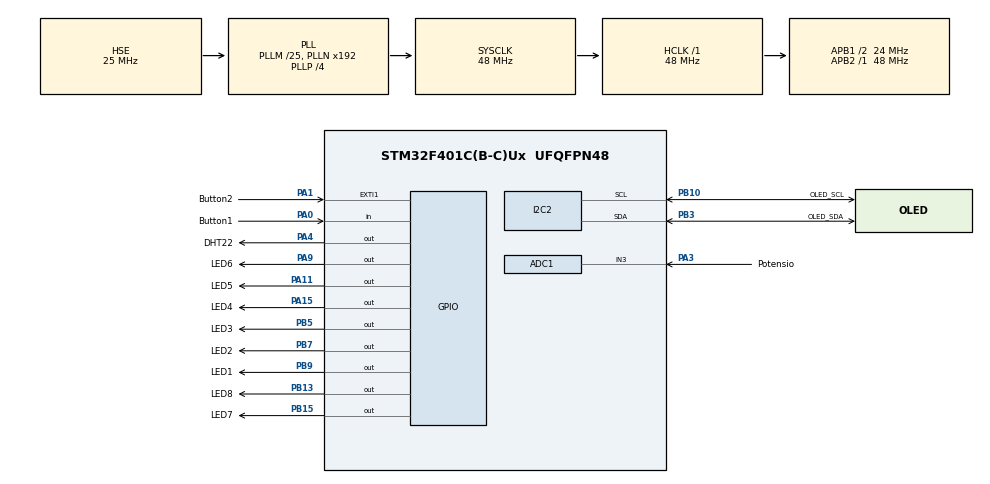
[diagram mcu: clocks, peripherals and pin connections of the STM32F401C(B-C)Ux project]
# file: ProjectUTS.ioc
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ADC1.Channel-0\#ChannelRegularConversion=ADC_CHANNEL_3
ADC1.NbrOfConversionFlag=1
ADC1.Rank-0\#ChannelRegularConversion=1
ADC1.SamplingTime-0\#ChannelRegularConversion=ADC_SAMPLETIME_3CYCLES
ADC1.master=1
I2C2.I2C_Mode=I2C_Standard
Mcu.Family=STM32F4
Mcu.Name=STM32F401C(B-C)Ux
Mcu.Package=UFQFPN48
NVIC.EXTI1_IRQn=true\:0\:0\:false\:false\:true\:true\:true\:true
NVIC.PriorityGroup=NVIC_PRIORITYGROUP_4
PA0-WKUP.GPIO_Label=Button1
PA0-WKUP.GPIO_PuPd=GPIO_PULLUP
PA0-WKUP.Signal=GPIO_Input
PA1.GPIO_Label=Button2
PA1.GPIO_ModeDefaultEXTI=GPIO_MODE_IT_RISING_FALLING
PA1.GPIO_PuPd=GPIO_PULLUP
PA1.Signal=GPXTI1
PA11.GPIO_Label=LED5
PA11.Signal=GPIO_Output
PA15.GPIO_Label=LED4
PA15.Signal=GPIO_Output
PA3.GPIO_Label=Potensio
PA3.Signal=ADCx_IN3
PA4.GPIO_Label=DHT22
PA4.Signal=GPIO_Output
PA9.GPIO_Label=LED6
PA9.Signal=GPIO_Output
PB10.GPIO_Label=OLED_SCL
PB10.GPIO_Pu=GPIO_PULLUP
PB10.Mode=I2C
PB10.Signal=I2C2_SCL
PB13.GPIO_Label=LED8
PB13.Signal=GPIO_Output
PB15.GPIO_Label=LED7
PB15.Signal=GPIO_Output
PB3.GPIO_Label=OLED_SDA
PB3.GPIO_Pu=GPIO_PULLUP
PB3.Mode=I2C
PB3.Signal=I2C2_SDA
PB5.GPIO_Label=LED3
PB5.Signal=GPIO_Output
PB7.GPIO_Label=LED2
PB7.Signal=GPIO_Output
PB9.GPIO_Label=LED1
PB9.Signal=GPIO_Output
PH0\ -\ OSC_IN.Mode=HSE-External-Oscillator
PH0\ -\ OSC_IN.Signal=RCC_OSC_IN
PH1\ -\ OSC_OUT.Mode=HSE-External-Oscillator
PH1\ -\ OSC_OUT.Signal=RCC_OSC_OUT
ProjectManager.HeapSize=0x200
ProjectManager.StackSize=0x400
ProjectManager.TargetToolchain=STM32CubeIDE
RCC.48MHZClocksFreq_Value=48000000
RCC.AHBFreq_Value=48000000
RCC.APB1CLKDivider=RCC_HCLK_DIV2
RCC.APB1Freq_Value=24000000
RCC.APB1TimFreq_Value=48000000
RCC.APB2Freq_Value=48000000
RCC.APB2TimFreq_Value=48000000
RCC.CortexFreq_Value=48000000
RCC.HCLKFreq_Value=48000000
RCC.HSE_VALUE=25000000
RCC.HSI_VALUE=16000000
RCC.LSE_VALUE=32768
RCC.PLLM=25
RCC.PLLP=RCC_PLLP_DIV4
RCC.PLLSourceVirtual=RCC_PLLSOURCE_HSE
RCC.SYSCLKFreq_VALUE=48000000
RCC.SYSCLKSource=RCC_SYSCLKSOURCE_PLLCLK
RCC.VCOOutputFreq_Value=192000000
SH.ADCx_IN3.0=ADC1_IN3,IN3
TIM3.Prescaler=47
VP_TIM3_VS_ClockSourceINT.Mode=Internal
board=custom

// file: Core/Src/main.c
/* USER CODE BEGIN Header */
/**
 ******************************************************************************
 * @file           : main.c
 * @brief          : Main program body
 ******************************************************************************
 * @attention
 *
 * Copyright (c) 2026 STMicroelectronics.
 * All rights reserved.
 *
 * This software is licensed under terms that can be found in the LICENSE file
 * in the root directory of this software component.
 * If no LICENSE file comes with this software, it is provided AS-IS.
 *
 ******************************************************************************
 */
/* USER CODE END Header */
#include "main.h"

/* USER CODE BEGIN Includes */
#include "dht22.h"
#include "ssd1306.h"
#include "ssd1306_fonts.h"
#include <stdio.h>
#include <string.h>
/* USER CODE END Includes */

ADC_HandleTypeDef hadc1;

I2C_HandleTypeDef hi2c2;

TIM_HandleTypeDef htim3;

/* USER CODE BEGIN PV */
volatile uint8_t state = 0;
uint8_t nim_state = 0;
volatile uint32_t gauge_val = 0;
volatile uint16_t adc_val = 0;

volatile uint32_t last_shift_time = 0;
volatile uint8_t shift_idx = 0;
volatile uint8_t temperature = 0;
volatile uint8_t humidity = 0;

uint8_t virtual_btn = 0;

volatile uint8_t button_interrupted = 0;
volatile uint8_t virtual_interrupt = 0;
uint32_t interrupt_start_time = 0;

GPIO_TypeDef *LED_PORT[8] = { LED1_GPIO_Port, LED2_GPIO_Port, LED3_GPIO_Port,
LED4_GPIO_Port, LED5_GPIO_Port, LED6_GPIO_Port, LED7_GPIO_Port,
LED8_GPIO_Port };
uint16_t LED_PIN[8] = { LED1_Pin, LED2_Pin, LED3_Pin, LED4_Pin, LED5_Pin,
LED6_Pin, LED7_Pin, LED8_Pin };
/* USER CODE END PV */

void SystemClock_Config(void);
static void MX_GPIO_Init(void);
static void MX_ADC1_Init(void);
static void MX_TIM3_Init(void);
static void MX_I2C2_Init(void);

/* USER CODE BEGIN 0 */
void Set_LED_State(uint8_t mask) {
	for (int i = 0; i < 8; i++) {
		// Cek apakah bit ke-i bernilai 1
		if (mask & (1 << i)) {
			HAL_GPIO_WritePin(LED_PORT[i], LED_PIN[i], GPIO_PIN_SET); // Nyalakan LED
		} else {
			HAL_GPIO_WritePin(LED_PORT[i], LED_PIN[i], GPIO_PIN_RESET); // Matikan LED
		}
	}
}
/* USER CODE END 0 */

int main(void) {

	/* MCU Configuration--------------------------------------------------------*/

	/* Reset of all peripherals, Initializes the Flash interface and the Systick. */
	HAL_Init();

	/* Configure the system clock */
	SystemClock_Config();

	/* Initialize all configured peripherals */
	MX_GPIO_Init();
	MX_ADC1_Init();
	MX_TIM3_Init();
	MX_I2C2_Init();
	/* USER CODE BEGIN 2 */
	HAL_TIM_Base_Start(&htim3);
	HAL_Delay(3000);

	ssd1306_Init();
	/* USER CODE END 2 */

	/* Infinite loop */
	/* USER CODE BEGIN WHILE */
	char str_state[20];
	while (1) {
		uint8_t btn_fisik = (HAL_GPIO_ReadPin(Button1_GPIO_Port, Button1_Pin)
				== GPIO_PIN_RESET);
		if (btn_fisik == 1 || virtual_btn == 1) {
			HAL_Delay(50);
			btn_fisik = (HAL_GPIO_ReadPin(Button1_GPIO_Port, Button1_Pin)
					== GPIO_PIN_RESET);
			if (btn_fisik == 1 || virtual_btn == 1) {
				state++;
				if (state > 3)
					state = 0;

				Set_LED_State(0x00);
				shift_idx = 0;
				last_shift_time = 0;
				virtual_btn = 0;

				if (btn_fisik == 1) {
					while (HAL_GPIO_ReadPin(Button1_GPIO_Port, Button1_Pin)
							== GPIO_PIN_RESET)
						;
				}
			}
		}
		if (button_interrupted == 1 || virtual_interrupt == 1) {
			if (virtual_interrupt == 1) {
				button_interrupted = 1;
				virtual_interrupt = 0;
				interrupt_start_time = HAL_GetTick();
			}

			Set_LED_State(0xFF);

			if (HAL_GetTick() - interrupt_start_time >= 5000) {
				button_interrupted = 0;
				Set_LED_State(0x00);
			}
		}

		switch (state) {
		case 0:
			ssd1306_Fill(Black);
			if (HAL_GetTick() - last_shift_time >= 200) {
				last_shift_time = HAL_GetTick();
				Set_LED_State(1 << shift_idx);
				shift_idx++;
				if (shift_idx >= 8)
					shift_idx = 0;
			}
			sprintf(str_state, "State : %d", state);
			ssd1306_SetCursor(15, 25);
			ssd1306_WriteString(str_state, Font_11x18, White);
			ssd1306_UpdateScreen();
			break;

		case 1:
			ssd1306_Fill(Black);
			char str_gauge[20];
			gauge_val++;
			if (nim_state == 0) {
				if (gauge_val <= 3) {
					Set_LED_State(0x01);
					HAL_Delay(250);
				} else if (gauge_val <= 7) {
					Set_LED_State(0x03);
					HAL_Delay(250);
				} else if (gauge_val <= 10) {
					Set_LED_State(0x07);
					HAL_Delay(250);
				} else if (gauge_val <= 14) {
					Set_LED_State(0x0F);
					HAL_Delay(250);
				} else if (gauge_val <= 17) {
					Set_LED_State(0x1F);
					HAL_Delay(250);
				} else if (gauge_val <= 21) {
					Set_LED_State(0x3F);
					HAL_Delay(250);
				} else if (gauge_val <= 24) {
					Set_LED_State(0x7F);
					HAL_Delay(250);
				} else if (gauge_val <= 27) {
					Set_LED_State(0xFF);
					HAL_Delay(250);
				} else {
					Set_LED_State(0xFF);
					HAL_Delay(200);
					Set_LED_State(0x00);
					HAL_Delay(200);
					Set_LED_State(0xFF);
					HAL_Delay(200);
					Set_LED_State(0x00);
					HAL_Delay(200);
					Set_LED_State(0xFF);
					gauge_val = 0;
					nim_state = 1;
				}
				sprintf(str_gauge, "Value: %lu", gauge_val);
				ssd1306_SetCursor(15, 5);
				ssd1306_WriteString(str_gauge, Font_11x18, White);

				sprintf(str_state, "State: %d", state);
				ssd1306_SetCursor(15, 35);
				ssd1306_WriteString(str_state, Font_11x18, White);
				ssd1306_UpdateScreen();
			} else {
				if (gauge_val <= 9) {
					Set_LED_State(0x01);
					HAL_Delay(250);
				} else if (gauge_val <= 18) {
					Set_LED_State(0x03);
					HAL_Delay(250);
				} else if (gauge_val <= 28) {
					Set_LED_State(0x07);
					HAL_Delay(250);
				} else if (gauge_val <= 37) {
					Set_LED_State(0x0F);
					HAL_Delay(250);
				} else if (gauge_val <= 47) {
					Set_LED_State(0x1F);
					HAL_Delay(250);
				} else if (gauge_val <= 56) {
					Set_LED_State(0x3F);
					HAL_Delay(250);
				} else if (gauge_val <= 66) {
					Set_LED_State(0x7F);
					HAL_Delay(250);
				} else if (gauge_val <= 76) {
					Set_LED_State(0xFF);
					HAL_Delay(250);
				} else {
					Set_LED_State(0xFF);
					HAL_Delay(200);
					Set_LED_State(0x00);
					HAL_Delay(200);
					Set_LED_State(0xFF);
					HAL_Delay(200);
					Set_LED_State(0x00);
					HAL_Delay(200);
					Set_LED_State(0xFF);
					gauge_val = 0;
					nim_state = 0;
				}
				sprintf(str_gauge, "Value: %lu", gauge_val);
				ssd1306_SetCursor(15, 5);
				ssd1306_WriteString(str_gauge, Font_11x18, White);

				sprintf(str_state, "State: %d", state);
				ssd1306_SetCursor(15, 35);
				ssd1306_WriteString(str_state, Font_11x18, White);
				ssd1306_UpdateScreen();
			}
			break;

		case 2:
			ssd1306_Fill(Black);
			char str_adc[20];
			HAL_ADC_Start(&hadc1);
			if (HAL_ADC_PollForConversion(&hadc1, 10) == HAL_OK) {
				adc_val = HAL_ADC_GetValue(&hadc1);
				int leds_to_turn_on = (adc_val * 8) / 4095;
				Set_LED_State((1 << leds_to_turn_on) - 1);
			}
			HAL_ADC_Stop(&hadc1);
			sprintf(str_adc, "Value: %u", adc_val);
			ssd1306_SetCursor(5, 5);
			ssd1306_WriteString(str_adc, Font_11x18, White);

			sprintf(str_state, "State: %d", state);
			ssd1306_SetCursor(15, 35);
			ssd1306_WriteString(str_state, Font_11x18, White);
			ssd1306_UpdateScreen();
			break;

		case 3: { // ← kurung kurawal wajib untuk deklarasi variabel di dalam case
			DHT22_Data sensor = DHT22_Read();
			temperature = sensor.temperature;
			humidity = sensor.humidity;

			char str_temp[20];
			char str_hum[20];

			ssd1306_Fill(Black);

			if (sensor.status == 0) {
				uint8_t temp_mask = 0x00;
				if (sensor.temperature > 30.0f)
					temp_mask = 0x0F;
				else if (sensor.temperature > 28.0f)
					temp_mask = 0x07;
				else if (sensor.temperature > 24.0f)
					temp_mask = 0x03;
				else if (sensor.temperature > 22.0f)
					temp_mask = 0x01;

				uint8_t hum_mask = 0x00;
				if (sensor.humidity > 90.0f)
					hum_mask = 0xF0;
				else if (sensor.humidity > 76.0f)
					hum_mask = 0xE0;
				else if (sensor.humidity > 74.0f)
					hum_mask = 0xC0;
				else if (sensor.humidity > 70.0f)
					hum_mask = 0x80;

				Set_LED_State(temp_mask | hum_mask);

				// Jika pembacaan BERHASIL
				// Format: "Temp: 25.4 C" (%.1f artinya 1 angka di belakang koma)
				sprintf(str_temp, "Temp: %.1f C", sensor.temperature);
				sprintf(str_hum, "Humid: %.1f %%", sensor.humidity);
				sprintf(str_state, "State: %d", state);

				// Tampilkan Suhu (Baris 1)
				ssd1306_SetCursor(15, 10);
				ssd1306_WriteString(str_temp, Font_7x10, White);

				// Tampilkan Kelembapan (Baris 2)
				ssd1306_SetCursor(15, 25);
				ssd1306_WriteString(str_hum, Font_7x10, White);

				ssd1306_SetCursor(20, 40);
				ssd1306_WriteString(str_state, Font_7x10, White);
			} else {
				// Jika pembacaan GAGAL
				ssd1306_SetCursor(0, 20);
				ssd1306_WriteString("SENSOR ERROR", Font_11x18, White);
			}

			ssd1306_UpdateScreen();

			HAL_Delay(200);
			break;
		}
		}
		/* USER CODE END WHILE */

	}
}

void SystemClock_Config(void) {
	RCC_OscInitTypeDef RCC_OscInitStruct = { 0 };
	RCC_ClkInitTypeDef RCC_ClkInitStruct = { 0 };

	/** Configure the main internal regulator output voltage
	 */
	__HAL_RCC_PWR_CLK_ENABLE();
	__HAL_PWR_VOLTAGESCALING_CONFIG(PWR_REGULATOR_VOLTAGE_SCALE2);

	/** Initializes the RCC Oscillators according to the specified parameters
	 * in the RCC_OscInitTypeDef structure.
	 */
	RCC_OscInitStruct.OscillatorType = RCC_OSCILLATORTYPE_HSE;
	RCC_OscInitStruct.HSEState = RCC_HSE_ON;
	RCC_OscInitStruct.PLL.PLLState = RCC_PLL_ON;
	RCC_OscInitStruct.PLL.PLLSource = RCC_PLLSOURCE_HSE;
	RCC_OscInitStruct.PLL.PLLM = 25;
	RCC_OscInitStruct.PLL.PLLN = 192;
	RCC_OscInitStruct.PLL.PLLP = RCC_PLLP_DIV4;
	RCC_OscInitStruct.PLL.PLLQ = 4;
	if (HAL_RCC_OscConfig(&RCC_OscInitStruct) != HAL_OK) {
		Error_Handler();
	}

	/** Initializes the CPU, AHB and APB buses clocks
	 */
	RCC_ClkInitStruct.ClockType = RCC_CLOCKTYPE_HCLK | RCC_CLOCKTYPE_SYSCLK
			| RCC_CLOCKTYPE_PCLK1 | RCC_CLOCKTYPE_PCLK2;
	RCC_ClkInitStruct.SYSCLKSource = RCC_SYSCLKSOURCE_PLLCLK;
	RCC_ClkInitStruct.AHBCLKDivider = RCC_SYSCLK_DIV1;
	RCC_ClkInitStruct.APB1CLKDivider = RCC_HCLK_DIV2;
	RCC_ClkInitStruct.APB2CLKDivider = RCC_HCLK_DIV1;

	if (HAL_RCC_ClockConfig(&RCC_ClkInitStruct, FLASH_LATENCY_1) != HAL_OK) {
		Error_Handler();
	}
}

static void MX_ADC1_Init(void) {

	ADC_ChannelConfTypeDef sConfig = { 0 };

	/** Configure the global features of the ADC (Clock, Resolution, Data Alignment and number of conversion)
	 */
	hadc1.Instance = ADC1;
	hadc1.Init.ClockPrescaler = ADC_CLOCK_SYNC_PCLK_DIV2;
	hadc1.Init.Resolution = ADC_RESOLUTION_12B;
	hadc1.Init.ScanConvMode = DISABLE;
	hadc1.Init.ContinuousConvMode = DISABLE;
	hadc1.Init.DiscontinuousConvMode = DISABLE;
	hadc1.Init.ExternalTrigConvEdge = ADC_EXTERNALTRIGCONVEDGE_NONE;
	hadc1.Init.ExternalTrigConv = ADC_SOFTWARE_START;
	hadc1.Init.DataAlign = ADC_DATAALIGN_RIGHT;
	hadc1.Init.NbrOfConversion = 1;
	hadc1.Init.DMAContinuousRequests = DISABLE;
	hadc1.Init.EOCSelection = ADC_EOC_SINGLE_CONV;
	if (HAL_ADC_Init(&hadc1) != HAL_OK) {
		Error_Handler();
	}

	/** Configure for the selected ADC regular channel its corresponding rank in the sequencer and its sample time.
	 */
	sConfig.Channel = ADC_CHANNEL_3;
	sConfig.Rank = 1;
	sConfig.SamplingTime = ADC_SAMPLETIME_3CYCLES;
	if (HAL_ADC_ConfigChannel(&hadc1, &sConfig) != HAL_OK) {
		Error_Handler();
	}

}

static void MX_I2C2_Init(void) {

	hi2c2.Instance = I2C2;
	hi2c2.Init.ClockSpeed = 100000;
	hi2c2.Init.DutyCycle = I2C_DUTYCYCLE_2;
	hi2c2.Init.OwnAddress1 = 0;
	hi2c2.Init.AddressingMode = I2C_ADDRESSINGMODE_7BIT;
	hi2c2.Init.DualAddressMode = I2C_DUALADDRESS_DISABLE;
	hi2c2.Init.OwnAddress2 = 0;
	hi2c2.Init.GeneralCallMode = I2C_GENERALCALL_DISABLE;
	hi2c2.Init.NoStretchMode = I2C_NOSTRETCH_DISABLE;
	if (HAL_I2C_Init(&hi2c2) != HAL_OK) {
		Error_Handler();
	}

}

static void MX_TIM3_Init(void) {

	TIM_ClockConfigTypeDef sClockSourceConfig = { 0 };
	TIM_MasterConfigTypeDef sMasterConfig = { 0 };

	htim3.Instance = TIM3;
	htim3.Init.Prescaler = 47;
	htim3.Init.CounterMode = TIM_COUNTERMODE_UP;
	htim3.Init.Period = 65535;
	htim3.Init.ClockDivision = TIM_CLOCKDIVISION_DIV1;
	htim3.Init.AutoReloadPreload = TIM_AUTORELOAD_PRELOAD_DISABLE;
	if (HAL_TIM_Base_Init(&htim3) != HAL_OK) {
		Error_Handler();
	}
	sClockSourceConfig.ClockSource = TIM_CLOCKSOURCE_INTERNAL;
	if (HAL_TIM_ConfigClockSource(&htim3, &sClockSourceConfig) != HAL_OK) {
		Error_Handler();
	}
	sMasterConfig.MasterOutputTrigger = TIM_TRGO_RESET;
	sMasterConfig.MasterSlaveMode = TIM_MASTERSLAVEMODE_DISABLE;
	if (HAL_TIMEx_MasterConfigSynchronization(&htim3, &sMasterConfig)
			!= HAL_OK) {
		Error_Handler();
	}

}

static void MX_GPIO_Init(void) {
	GPIO_InitTypeDef GPIO_InitStruct = { 0 };

	/* GPIO Ports Clock Enable */
	__HAL_RCC_GPIOH_CLK_ENABLE();
	__HAL_RCC_GPIOA_CLK_ENABLE();
	__HAL_RCC_GPIOB_CLK_ENABLE();

	/*Configure GPIO pin Output Level */
	HAL_GPIO_WritePin(GPIOA, DHT22_Pin | LED6_Pin | LED5_Pin | LED4_Pin,
			GPIO_PIN_RESET);

	/*Configure GPIO pin Output Level */
	HAL_GPIO_WritePin(GPIOB,
	LED8_Pin | LED7_Pin | LED3_Pin | LED2_Pin | LED1_Pin, GPIO_PIN_RESET);

	/*Configure GPIO pin : Button1_Pin */
	GPIO_InitStruct.Pin = Button1_Pin;
	GPIO_InitStruct.Mode = GPIO_MODE_INPUT;
	GPIO_InitStruct.Pull = GPIO_PULLUP;
	HAL_GPIO_Init(Button1_GPIO_Port, &GPIO_InitStruct);

	/*Configure GPIO pin : Button2_Pin */
	GPIO_InitStruct.Pin = Button2_Pin;
	GPIO_InitStruct.Mode = GPIO_MODE_IT_RISING_FALLING;
	GPIO_InitStruct.Pull = GPIO_PULLUP;
	HAL_GPIO_Init(Button2_GPIO_Port, &GPIO_InitStruct);

	/*Configure GPIO pins : DHT22_Pin LED6_Pin LED5_Pin LED4_Pin */
	GPIO_InitStruct.Pin = DHT22_Pin | LED6_Pin | LED5_Pin | LED4_Pin;
	GPIO_InitStruct.Mode = GPIO_MODE_OUTPUT_PP;
	GPIO_InitStruct.Pull = GPIO_NOPULL;
	GPIO_InitStruct.Speed = GPIO_SPEED_FREQ_LOW;
	HAL_GPIO_Init(GPIOA, &GPIO_InitStruct);

	/*Configure GPIO pins : LED8_Pin LED7_Pin LED3_Pin LED2_Pin
	 LED1_Pin */
	GPIO_InitStruct.Pin = LED8_Pin | LED7_Pin | LED3_Pin | LED2_Pin | LED1_Pin;
	GPIO_InitStruct.Mode = GPIO_MODE_OUTPUT_PP;
	GPIO_InitStruct.Pull = GPIO_NOPULL;
	GPIO_InitStruct.Speed = GPIO_SPEED_FREQ_LOW;
	HAL_GPIO_Init(GPIOB, &GPIO_InitStruct);

	/* EXTI interrupt init*/
	HAL_NVIC_SetPriority(EXTI1_IRQn, 0, 0);
	HAL_NVIC_EnableIRQ(EXTI1_IRQn);

}

/* USER CODE BEGIN 4 */
void HAL_GPIO_EXTI_Callback(uint16_t GPIO_Pin) {
	if (GPIO_Pin == Button2_Pin) {
		button_interrupted = 1;
		interrupt_start_time = HAL_GetTick();
	}
}
/* USER CODE END 4 */

void Error_Handler(void) {
	__disable_irq();
	while (1) {
	}
}
